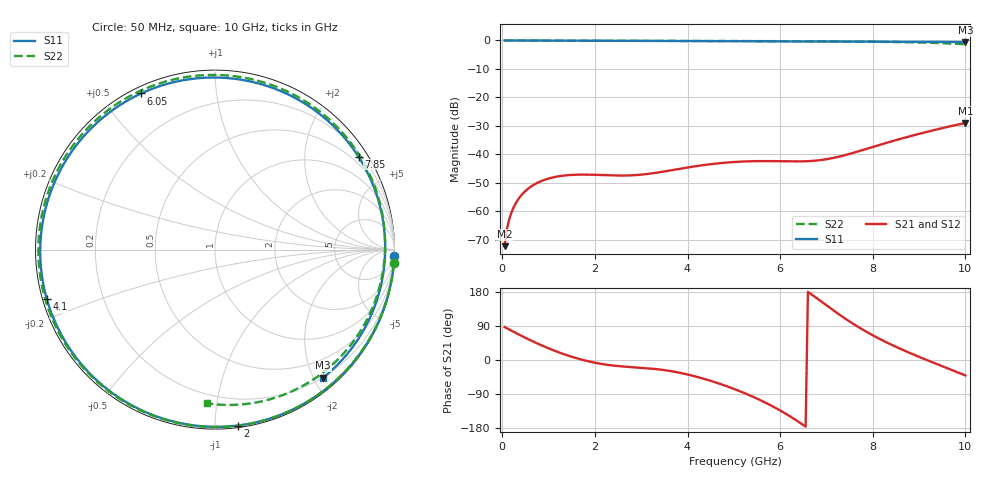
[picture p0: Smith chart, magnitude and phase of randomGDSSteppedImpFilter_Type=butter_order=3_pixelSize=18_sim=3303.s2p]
! freq	dB(S11)	phase(S11)	dB(S12)	phase(S12)
!  dB(S21)	phase(S21)	dB(S22)	phase(S22)
!S-par simulation data
#  GHz  S  DB  R 50
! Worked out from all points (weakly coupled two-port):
!   200 points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, 50 MHz to 10 GHz, reference 50 ohm
!   highest |S21| = -29.01 dB at 10 GHz (marker M1); lowest = -72.3 dB at 50 MHz (marker M2)
!   lowest |S11| = -0.6 dB at 10 GHz (marker M3), VSWR 29.21, Z = 9.58 - j107 ohm
!   |S11| at or under -10 dB: nowhere
!   |S22| runs from -1.3 to 0.0 dB; largest |S21 - S12| = 0
!   S11 on the Smith chart (normalised r, x): 50 MHz: 0, -53; 2 GHz: 0.01, -1.14; 4.1 GHz: 0.01, -0.14; 6.05 GHz: 0.03, +0.63; 7.85 GHz: 0.30, +3.36; 10 GHz: 0.19, -2.14
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0.05  -0.00 -2.1  -72.31 86.8  -72.31 86.8  -0.00 -4.4
0.1  -0.00 -4.3  -66.30 83.5  -66.30 83.5  -0.01 -8.7
0.2  -0.01 -8.5  -60.36 77.1  -60.36 77.1  -0.03 -17.3
0.5  -0.03 -21.2  -52.90 58.5  -52.90 58.5  -0.06 -42.3
0.75  -0.04 -31.7  -50.10 44.0  -50.10 44.0  -0.08 -61.7
1.05  -0.06 -44.2  -48.31 28.3  -48.31 28.3  -0.09 -83.0
1.35  -0.07 -56.5  -47.45 14.6  -47.45 14.6  -0.10 -102.0
1.75  -0.09 -72.7  -47.15 -0.1  -47.15 -0.1  -0.11 -124.1
2  -0.10 -82.6  -47.23 -7.1  -47.23 -7.1  -0.12 -136.4
2.65  -0.13 -107.9  -47.48 -17.6  -47.48 -17.6  -0.13 -164.3
3.4  -0.17 -136.7  -46.31 -25.1  -46.31 -25.1  -0.14 168.0
4.1  -0.20 -163.6  -44.40 -41.2  -44.40 -41.2  -0.16 144.2
5.05  -0.27 158.4  -42.68 -78.5  -42.68 -78.5  -0.20 112.6
5.55  -0.30 137.3  -42.41 -104.7  -42.41 -104.7  -0.23 95.6
6.05  -0.33 115.3  -42.47 -136.7  -42.47 -136.7  -0.25 78.2
6.7  -0.37 85.7  -42.33 171.1  -42.33 171.1  -0.30 54.7
7.25  -0.40 60.2  -40.93 122.3  -40.93 122.3  -0.35 34.0
7.85  -0.42 32.9  -38.18 75.4  -38.18 75.4  -0.43 10.4
8.35  -0.45 11.2  -35.73 43.4  -35.73 43.4  -0.52 -10.3
9.15  -0.50 -20.5  -32.20 0.8  -32.20 0.8  -0.78 -46.0
9.6  -0.55 -36.6  -30.44 -21.2  -30.44 -21.2  -1.02 -69.1
10  -0.59 -49.9  -29.01 -40.8  -29.01 -40.8  -1.34 -93.1
